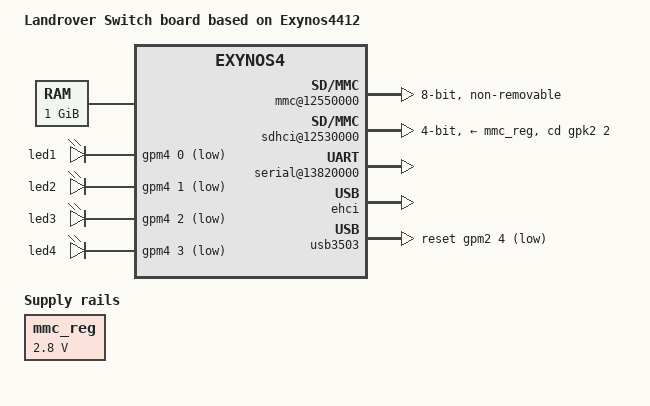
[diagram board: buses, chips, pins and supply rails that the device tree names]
/*
 * FriendlyARM's Exynos4412 based TINY4412 board device tree source
 *
 * Copyright (c) 2013 Alex Ling <kasimling@gmail.com>
 *
 * Device tree source file for FriendlyARM's TINY4412 board which is based on
 * Samsung's Exynos4412 SoC.
 *
 * This program is free software; you can redistribute it and/or modify
 * it under the terms of the GNU General Public License version 2 as
 * published by the Free Software Foundation.
*/

/dts-v1/;
#include "exynos4412.dtsi"
#include <dt-bindings/gpio/gpio.h>
#include <dt-bindings/interrupt-controller/irq.h>

/ {
	model = "Landrover Switch board based on Exynos4412";
	compatible = "landrover,switch", "samsung,exynos4412", "samsung,exynos4";

	chosen {
		stdout-path = &serial_2;
	};

	memory {
		reg = <0x40000000 0x40000000>;
	};
	
	regulators {
		compatible = "simple-bus";
		#address-cells = <1>;
		#size-cells = <0>;

		mmc_reg: regulator@0 {
			compatible = "regulator-fixed";
			reg = <0>;
			regulator-name = "VMEM_VDD_2.8V";
			regulator-min-microvolt = <2800000>;
			regulator-max-microvolt = <2800000>;
		};
	};

	leds {
		compatible = "gpio-leds";

		led1 {
			label = "led1";
			gpios = <&gpm4 0 1>;
			default-state = "on";
			linux,default-trigger = "heartbeat";
		};

		led2 {
			label = "led2";
			gpios = <&gpm4 1 1>;
			default-state = "on";
		};

		led3 {
			label = "led3";
			gpios = <&gpm4 2 1>;
			default-state = "on";
		};

		led4 {
			label = "led4";
			gpios = <&gpm4 3 1>;
			default-state = "on";
			linux,default-trigger = "mmc0";
		};
	};

	rtc@10070000 {
		status = "okay";
	};
	
	mmc@12550000 {
		num-slots = <1>;
		broken-cd;
		non-removable;
		card-detect-delay = <200>;
		clock-frequency = <400000000>;
		samsung,dw-mshc-ciu-div = <0>;
		samsung,dw-mshc-sdr-timing = <2 3>;
		samsung,dw-mshc-ddr-timing = <1 2>;
		pinctrl-0 = <&sd4_clk &sd4_cmd &sd4_bus4 &sd4_bus8>;
		pinctrl-names = "default";
		status = "okay";
		bus-width = <8>;
		cap-mmc-highspeed;
	};

	sdhci@12530000 {
		bus-width = <4>;
		pinctrl-0 = <&sd2_clk &sd2_cmd &sd2_cd &sd2_bus4>;
		cd-gpios = <&gpk2 2 GPIO_ACTIVE_HIGH>;
		pinctrl-names = "default";
		vmmc-supply = <&mmc_reg>;
		status = "okay";
	};

	serial@13800000 {
		status = "diable";
	};

	serial@13810000 {
		status = "disable";
	};

	serial@13820000 {
		status = "okay";
	};

	serial@13830000 {
		status = "disable";
	};

	fixed-rate-clocks {
		xxti {
			compatible = "samsung,clock-xxti";
			clock-frequency = <0>;
		};

		xusbxti {
			compatible = "samsung,clock-xusbxti";
			clock-frequency = <24000000>;
		};
	};
	
	exynos-usbphy@125B0000 {
		status = "okay";	
	};
	
	ehci: ehci@12580000 {
		//samsung,vbus-gpio = <&gpx3 5 1>;
		status = "okay";	
		port@0 {
			status = "okay";
		};
		port@1 {
			status = "okay";
		};
		port@2 {
			status = "okay";	
		};
	};

	usb3503 {
		compatible = "smsc,usb3503";	
		reg = <0x08 0x4>;
		connect-gpios = <&gpm3 3 GPIO_ACTIVE_LOW>;
		intn-gpios = <&gpx2 3 GPIO_ACTIVE_LOW>;
		reset-gpios = <&gpm2 4 GPIO_ACTIVE_LOW>;
		initial-mode = <1>;
	};
	
};
